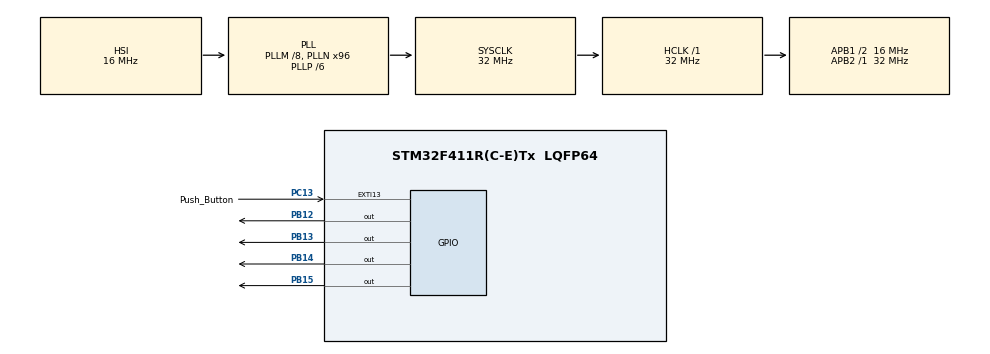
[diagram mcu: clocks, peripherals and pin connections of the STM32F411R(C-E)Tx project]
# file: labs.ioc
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Mcu.Family=STM32F4
Mcu.Name=STM32F411R(C-E)Tx
Mcu.Package=LQFP64
NVIC.EXTI15_10_IRQn=true\:0\:0\:false\:false\:true\:true\:true\:true
NVIC.PriorityGroup=NVIC_PRIORITYGROUP_4
NVIC.TIM1_UP_TIM10_IRQn=true\:0\:0\:false\:false\:true\:true\:true\:true
PB12.Signal=GPIO_Output
PB13.Signal=GPIO_Output
PB14.Signal=GPIO_Output
PB15.Signal=GPIO_Output
PC13-ANTI_TAMP.GPIO_Label=Push_Button
PC13-ANTI_TAMP.GPIO_PuPd=GPIO_PULLUP
PC13-ANTI_TAMP.Signal=GPXTI13
PH0\ -\ OSC_IN.Mode=HSE-External-Oscillator
PH0\ -\ OSC_IN.Signal=RCC_OSC_IN
PH1\ -\ OSC_OUT.Mode=HSE-External-Oscillator
PH1\ -\ OSC_OUT.Signal=RCC_OSC_OUT
ProjectManager.HeapSize=0x200
ProjectManager.StackSize=0x400
ProjectManager.TargetToolchain=STM32CubeIDE
RCC.48MHZClocksFreq_Value=48000000
RCC.AHBFreq_Value=32000000
RCC.APB1CLKDivider=RCC_HCLK_DIV2
RCC.APB1Freq_Value=16000000
RCC.APB1TimFreq_Value=32000000
RCC.APB2Freq_Value=32000000
RCC.APB2TimFreq_Value=32000000
RCC.CortexFreq_Value=32000000
RCC.HCLKFreq_Value=32000000
RCC.HSE_VALUE=8000000
RCC.HSI_VALUE=16000000
RCC.LSE_VALUE=32768
RCC.PLLM=8
RCC.PLLN=96
RCC.PLLP=RCC_PLLP_DIV6
RCC.SYSCLKFreq_VALUE=32000000
RCC.SYSCLKSource=RCC_SYSCLKSOURCE_PLLCLK
RCC.VCOOutputFreq_Value=192000000
TIM1.Period=250
TIM1.Prescaler=32000
VP_TIM1_VS_ClockSourceINT.Mode=Internal
board=custom

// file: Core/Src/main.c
/* USER CODE BEGIN Header */
/**
  ******************************************************************************
  * @file           : main.c
  * @brief          : Main program body
  ******************************************************************************
  * @attention
  *
  * Copyright (c) 2024 STMicroelectronics.
  * All rights reserved.
  *
  * This software is licensed under terms that can be found in the LICENSE file
  * in the root directory of this software component.
  * If no LICENSE file comes with this software, it is provided AS-IS.
  *
  ******************************************************************************
  */
/* USER CODE END Header */
#include "main.h"
#include "stdbool.h"

TIM_HandleTypeDef htim1;

void SystemClock_Config(void);
static void MX_GPIO_Init(void);
static void MX_TIM1_Init(void);
/* USER CODE BEGIN PFP */
volatile bool state = true;
volatile uint8_t click_count = 0;
/* USER CODE END PFP */

int main(void)
{

  /* MCU Configuration--------------------------------------------------------*/

  /* Reset of all peripherals, Initializes the Flash interface and the Systick. */
  HAL_Init();

  /* Configure the system clock */
  SystemClock_Config();

  /* Initialize all configured peripherals */
  MX_GPIO_Init();
  MX_TIM1_Init();

  /* Infinite loop */
  while (1)
  {

  }
}

void SystemClock_Config(void)
{
  RCC_OscInitTypeDef RCC_OscInitStruct = {0};
  RCC_ClkInitTypeDef RCC_ClkInitStruct = {0};

  /** Configure the main internal regulator output voltage
  */
  __HAL_RCC_PWR_CLK_ENABLE();
  __HAL_PWR_VOLTAGESCALING_CONFIG(PWR_REGULATOR_VOLTAGE_SCALE1);

  /** Initializes the RCC Oscillators according to the specified parameters
  * in the RCC_OscInitTypeDef structure.
  */
  RCC_OscInitStruct.OscillatorType = RCC_OSCILLATORTYPE_HSI;
  RCC_OscInitStruct.HSIState = RCC_HSI_ON;
  RCC_OscInitStruct.HSICalibrationValue = RCC_HSICALIBRATION_DEFAULT;
  RCC_OscInitStruct.PLL.PLLState = RCC_PLL_ON;
  RCC_OscInitStruct.PLL.PLLSource = RCC_PLLSOURCE_HSI;
  RCC_OscInitStruct.PLL.PLLM = 8;
  RCC_OscInitStruct.PLL.PLLN = 96;
  RCC_OscInitStruct.PLL.PLLP = RCC_PLLP_DIV6;
  RCC_OscInitStruct.PLL.PLLQ = 4;
  if (HAL_RCC_OscConfig(&RCC_OscInitStruct) != HAL_OK)
  {
    Error_Handler();
  }

  /** Initializes the CPU, AHB and APB buses clocks
  */
  RCC_ClkInitStruct.ClockType = RCC_CLOCKTYPE_HCLK|RCC_CLOCKTYPE_SYSCLK
                              |RCC_CLOCKTYPE_PCLK1|RCC_CLOCKTYPE_PCLK2;
  RCC_ClkInitStruct.SYSCLKSource = RCC_SYSCLKSOURCE_PLLCLK;
  RCC_ClkInitStruct.AHBCLKDivider = RCC_SYSCLK_DIV1;
  RCC_ClkInitStruct.APB1CLKDivider = RCC_HCLK_DIV2;
  RCC_ClkInitStruct.APB2CLKDivider = RCC_HCLK_DIV1;

  if (HAL_RCC_ClockConfig(&RCC_ClkInitStruct, FLASH_LATENCY_1) != HAL_OK)
  {
    Error_Handler();
  }
}

static void MX_TIM1_Init(void)
{

  TIM_ClockConfigTypeDef sClockSourceConfig = {0};
  TIM_MasterConfigTypeDef sMasterConfig = {0};

  htim1.Instance = TIM1;
  htim1.Init.Prescaler = 32000;
  htim1.Init.CounterMode = TIM_COUNTERMODE_UP;
  htim1.Init.Period = 250;
  htim1.Init.ClockDivision = TIM_CLOCKDIVISION_DIV1;
  htim1.Init.RepetitionCounter = 0;
  htim1.Init.AutoReloadPreload = TIM_AUTORELOAD_PRELOAD_DISABLE;
  if (HAL_TIM_Base_Init(&htim1) != HAL_OK)
  {
    Error_Handler();
  }
  sClockSourceConfig.ClockSource = TIM_CLOCKSOURCE_INTERNAL;
  if (HAL_TIM_ConfigClockSource(&htim1, &sClockSourceConfig) != HAL_OK)
  {
    Error_Handler();
  }
  sMasterConfig.MasterOutputTrigger = TIM_TRGO_RESET;
  sMasterConfig.MasterSlaveMode = TIM_MASTERSLAVEMODE_DISABLE;
  if (HAL_TIMEx_MasterConfigSynchronization(&htim1, &sMasterConfig) != HAL_OK)
  {
    Error_Handler();
  }

}

static void MX_GPIO_Init(void)
{
  GPIO_InitTypeDef GPIO_InitStruct = {0};

  /* GPIO Ports Clock Enable */
  __HAL_RCC_GPIOC_CLK_ENABLE();
  __HAL_RCC_GPIOH_CLK_ENABLE();
  __HAL_RCC_GPIOB_CLK_ENABLE();

  /*Configure GPIO pin Output Level */
  HAL_GPIO_WritePin(GPIOB, GPIO_PIN_12|GPIO_PIN_13|GPIO_PIN_14|GPIO_PIN_15, GPIO_PIN_RESET);

  /*Configure GPIO pin : Push_Button_Pin */
  GPIO_InitStruct.Pin = Push_Button_Pin;
  GPIO_InitStruct.Mode = GPIO_MODE_IT_RISING;
  GPIO_InitStruct.Pull = GPIO_PULLUP;
  HAL_GPIO_Init(Push_Button_GPIO_Port, &GPIO_InitStruct);

  /*Configure GPIO pins : PB12 PB13 PB14 PB15 */
  GPIO_InitStruct.Pin = GPIO_PIN_12|GPIO_PIN_13|GPIO_PIN_14|GPIO_PIN_15;
  GPIO_InitStruct.Mode = GPIO_MODE_OUTPUT_PP;
  GPIO_InitStruct.Pull = GPIO_NOPULL;
  GPIO_InitStruct.Speed = GPIO_SPEED_FREQ_LOW;
  HAL_GPIO_Init(GPIOB, &GPIO_InitStruct);

  /* EXTI interrupt init*/
  HAL_NVIC_SetPriority(EXTI15_10_IRQn, 0, 0);
  HAL_NVIC_EnableIRQ(EXTI15_10_IRQn);

}

/* USER CODE BEGIN 4 */
void HAL_GPIO_EXTI_Callback(uint16_t GPIO_Pin){
	if (GPIO_Pin == Push_Button_Pin && state == true){
		HAL_TIM_Base_Start_IT(&htim1);
		state = false;
	}
	else{
		__NOP();
	}
}

void HAL_TIM_PeriodElapsedCallback(TIM_HandleTypeDef *htim){
	UNUSED(htim);
	if(HAL_GPIO_ReadPin(Push_Button_GPIO_Port, Push_Button_Pin) == GPIO_PIN_RESET){

		click_count++;
		switch (click_count % 4) {
			case 0:
				 HAL_GPIO_WritePin(GPIOB, GPIO_PIN_12, GPIO_PIN_SET);
		         HAL_GPIO_WritePin(GPIOB, GPIO_PIN_13 | GPIO_PIN_14 | GPIO_PIN_15, GPIO_PIN_RESET);
		         break;
		    case 1:
		         HAL_GPIO_WritePin(GPIOB, GPIO_PIN_13, GPIO_PIN_SET);
		         HAL_GPIO_WritePin(GPIOB, GPIO_PIN_12 | GPIO_PIN_14 | GPIO_PIN_15, GPIO_PIN_RESET);
		         break;
		    case 2:
		         HAL_GPIO_WritePin(GPIOB, GPIO_PIN_14, GPIO_PIN_SET);
		         HAL_GPIO_WritePin(GPIOB, GPIO_PIN_12 | GPIO_PIN_13 | GPIO_PIN_15, GPIO_PIN_RESET);
		         break;
		    case 3:
		         HAL_GPIO_WritePin(GPIOB, GPIO_PIN_15, GPIO_PIN_SET);
		         HAL_GPIO_WritePin(GPIOB, GPIO_PIN_12 | GPIO_PIN_13 | GPIO_PIN_14, GPIO_PIN_RESET);
		         break;
		}
		state = true;
		HAL_TIM_Base_Stop_IT(&htim1);
	}
}
/* USER CODE END 4 */

void Error_Handler(void)
{
  __disable_irq();
  while (1)
  {
  }
}
